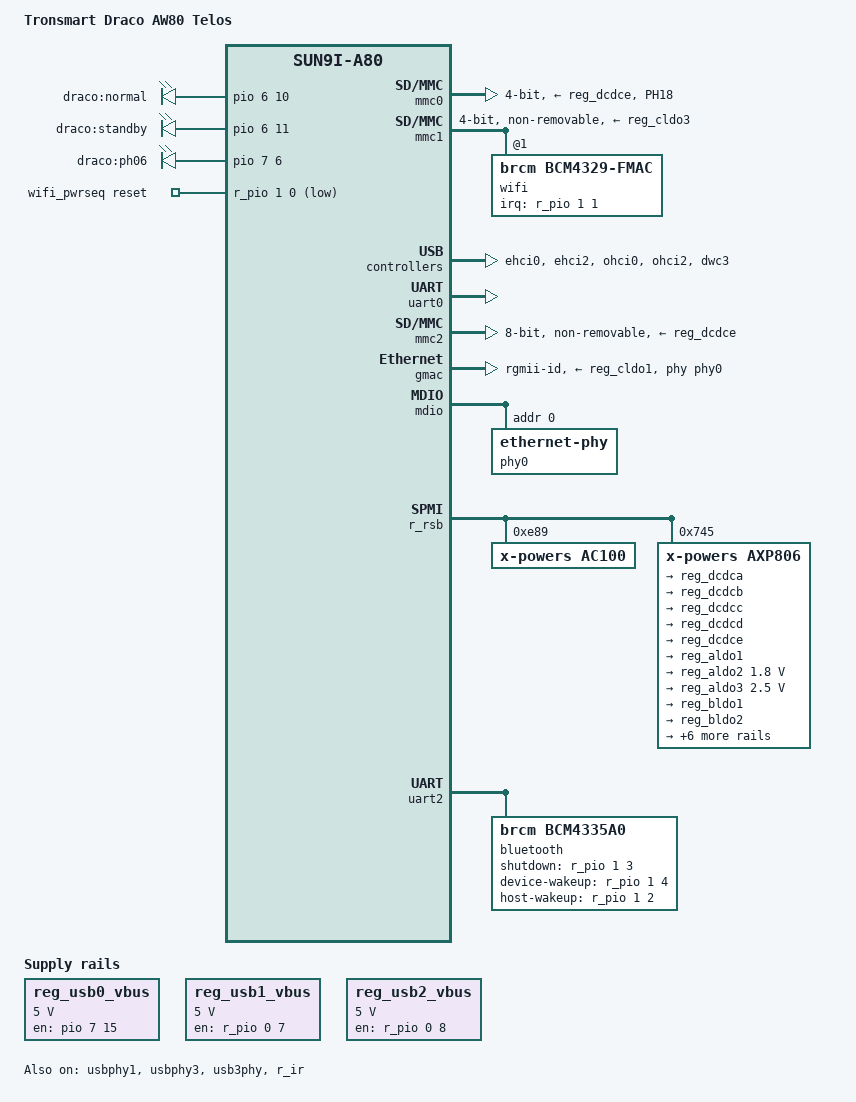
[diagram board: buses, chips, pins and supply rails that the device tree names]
// SPDX-License-Identifier: (GPL-2.0+ OR MIT)
/*
 * Tronsmart Draco AW80 Telos - Allwinner A80 (sun9i) TV box
 *   4 GB DDR3, 32 GB Samsung eMMC 5.0 on mmc2
 *   AXP806-equivalent PMIC ("AXP808") in MASTER mode on RSB
 *   Realtek RTL8211E gigabit PHY, AMPAK AP6335 (BCM4339) WiFi/BT on mmc1
 *
 * DRAFT - derived from sun9i-a80-cubieboard4.dts and from data read off the
 * running vendor system. GPIO assignments are NOT yet known; anything needing a
 * board GPIO is deliberately left out until schematics or sys_config.fex are
 * available. First goal is a serial console and eMMC.
 */

/*
 * NOTE: voltage constraints are deliberately omitted from the AXP806 rails.
 *
 * With explicit min/max present, the regulator core read every rail as 0.7 V
 * and rewrote it:
 *     vcc-pg-pm:   Bringing 700000uV into 1800000-1800000uV
 *     vcc-pa:      Bringing 700000uV into 2500000-2500000uV
 *     vcc-io-wifi: voltage operation not allowed
 * The live vendor system shows those rails already at 1800 and 2500 mV, so
 * mainline is misreading them - the AXP808 may not be register-identical to
 * the AXP806 after all.  Rewriting live rails with wrong values would brown
 * the board out, which matches the non-deterministic boot failures.
 *
 * Leaving the constraints out keeps the bootloader values.
 */
/dts-v1/;
#include "sun9i-a80.dtsi"

#include <dt-bindings/gpio/gpio.h>
#include <dt-bindings/interrupt-controller/irq.h>

/ {
	model = "Tronsmart Draco AW80 Telos";
	compatible = "tronsmart,draco-aw80", "allwinner,sun9i-a80";

	reserved-memory {
		/* must match the root node, which is <2>/<2> on sun9i */
		#address-cells = <2>;
		#size-cells = <2>;
		ranges;

		/*
		 * A crash log that survives a reset. This board wedges during
		 * cluster bring-up, and the serial console only ever shows what
		 * escaped before the hang - the oops itself is lost. ramoops
		 * keeps the dmesg tail in DRAM across the reset so it can be
		 * read back from /sys/fs/pstore afterwards.
		 *
		 * Placed 256 MiB into DRAM (base 0x20000000): clear of the
		 * kernel at 0x20008000 and the dtb at 0x23000000.
		 */
		ramoops@30000000 {
			compatible = "ramoops";
			reg = <0x0 0x30000000 0x0 0x100000>;
			record-size = <0x20000>;
			console-size = <0x40000>;
			pmsg-size = <0x20000>;
		};
	};

	aliases {
		serial0 = &uart0;
	};

	chosen {
		stdout-path = "serial0:115200n8";
	};

	leds {
		compatible = "gpio-leds";

		/*
		 * The LEDs are not where [led_para] says. That section is template
		 * junk - the same source that invented an LED on PH17, which is
		 * really the SD card-detect line (33-REAL-PINMAP.md).
		 *
		 * The board's own script.bin names them indirectly, and three
		 * sections agree:
		 *   [led_assign]     normal_led = gpio_pin_1, standby_led = gpio_pin_2
		 *   [gpio_para]      gpio_pin_1 = PG10<1> init 1, gpio_pin_2 = PG11<1> init 0
		 *   [boot_init_gpio] drives PG10 = 1 and PG11 = 0 at boot
		 *
		 * PG10/PG11 are also listed as twi3 scl/sda, but twi3 has
		 * twi_used = 0, so the GPIO claim is the live one.
		 *
		 * NOT VERIFIED VISUALLY YET - nobody was at the board. The old
		 * PH06 LED is kept but left undriven: its only live claim is
		 * led2, yet a heartbeat trigger on it produced no visible light.
		 */
		led-0 {
			label = "draco:normal";
			gpios = <&pio 6 10 GPIO_ACTIVE_HIGH>;  /* PG10 */
			linux,default-trigger = "heartbeat";
		};

		led-1 {
			label = "draco:standby";
			gpios = <&pio 6 11 GPIO_ACTIVE_HIGH>;  /* PG11 */
		};

		led-2 {
			label = "draco:ph06";
			gpios = <&pio 7 6 GPIO_ACTIVE_HIGH>;   /* PH6, unproven */
		};
	};

	/*
	 * USB VBUS switches, taken from this board's own script.bin
	 * (machine = "homlet proto"), recovered from the pristine eMMC image.
	 *
	 * NOT from the sys_config.fex that sits in the vendor rootfs: that file
	 * says machine = "cubieboard4", describes a different board, and had
	 * every one of these pins wrong.
	 *
	 *   [usbc0] -> USB3 / dwc3, the blue socket   : PH15
	 *   [usbc1] -> ehci0 / ohci0, the GL850G hub  : PL07
	 *   [usbc2] -> HSIC, usb_used = 0             : not fitted
	 *   [usbc3] -> ehci2 / ohci2                  : PL08
	 *
	 * Corroborated by the vendor kernel bringing up exactly two EHCI and two
	 * OHCI controllers with the HSIC one absent, which only this mapping
	 * produces. PL07/PL08 are on r_pio and nothing in mainline ever drove
	 * them - that is why the two black sockets had no VBUS.
	 */
	reg_usb0_vbus: usb0-vbus {
		compatible = "regulator-fixed";
		regulator-name = "usb0-vbus";
		regulator-min-microvolt = <5000000>;
		regulator-max-microvolt = <5000000>;
		enable-active-high;
		gpio = <&pio 7 15 GPIO_ACTIVE_HIGH>;       /* PH15 */
		/* phy-sun50i-usb3 takes no phy-supply, so hold this one on. */
		regulator-always-on;
		regulator-boot-on;
	};

	reg_usb1_vbus: usb1-vbus {
		compatible = "regulator-fixed";
		regulator-name = "usb1-vbus";
		regulator-min-microvolt = <5000000>;
		regulator-max-microvolt = <5000000>;
		enable-active-high;
		gpio = <&r_pio 0 7 GPIO_ACTIVE_HIGH>;      /* PL07 */
	};

	reg_usb2_vbus: usb2-vbus {
		compatible = "regulator-fixed";
		regulator-name = "usb2-vbus";
		regulator-min-microvolt = <5000000>;
		regulator-max-microvolt = <5000000>;
		enable-active-high;
		gpio = <&r_pio 0 8 GPIO_ACTIVE_HIGH>;      /* PL08 */
	};

	/*
	 * AMPAK AP6335 (BCM4339).  [wifi_para] ap6xxx_wl_regon = port:PL02.
	 * TODO: the module also wants a 32.768 kHz LPO, which on the dev boards
	 * comes from the AC100 (clocks = <&ac100_rtc 1>).  No AC100 node here yet,
	 * so WiFi may not associate until that is added.
	 */
	wifi_pwrseq: wifi-pwrseq {
		compatible = "mmc-pwrseq-simple";
		clocks = <&ac100_rtc 1>;
		clock-names = "ext_clock";
		reset-gpios = <&r_pio 1 0 GPIO_ACTIVE_LOW>;
		/*
		 * BCM4339 needs ~150 ms after WL_REG_ON before it answers on
		 * SDIO. Without this the bus is scanned too early and the
		 * module is simply not there yet.
		 */
		post-power-on-delay-ms = <200>; /* PM00 WL-REG-ON (real script.bin; PL02 is a15_pwr_en) */
	};
};

/* [mmc0_para] SD card slot: 4-bit on PF0-PF5, card detect on PH18 */
&mmc0 {
	pinctrl-names = "default";
	pinctrl-0 = <&mmc0_pins>, <&mmc0_cd_pin>;
	vmmc-supply = <&reg_dcdce>;
	bus-width = <4>;
	/*
	 * Card detect is PH18 and the vendor configures it with a pull-up
	 * (sys_config.fex: sdc_det = port:PH18<6><1><2><default>).  Our tree
	 * set no bias at all, so the line floated LOW and the driver believed
	 * a card was permanently inserted - measured: slot empty reads 0 with
	 * the pull off and 1 with it on.  mmc0_cd_pin below fixes that.
	 *
	 * With the pull-up enabled the line still does not go low when a card
	 * is inserted, so the detect switch itself is not reaching PH18 on
	 * this board.  broken-cd makes the driver poll instead, which does not
	 * depend on that switch.  cd-gpios is deliberately dropped - it and
	 * broken-cd are mutually exclusive.
	 */
	broken-cd;
	/*
	 * Cap the bus clock.  Left uncapped this controller enumerates a card
	 * and then fails every transfer:
	 *     sunxi-mmc 1c0f000.mmc: data error, sending stop command
	 *     sunxi-mmc 1c0f000.mmc: send stop command failed
	 * so no partition table is readable and the boot ROM cannot load an
	 * SPL from the card.  mmc2 (eMMC) needed exactly the same treatment.
	 */
	max-frequency = <25000000>;
	status = "okay";
};

/* [mmc1_para] SDIO WiFi: 4-bit on PG0-PG5, sdc_isio = 1 */
&mmc1 {
	pinctrl-names = "default";
	pinctrl-0 = <&mmc1_pins>;
	mmc-pwrseq = <&wifi_pwrseq>;
	vmmc-supply = <&reg_cldo3>;
	vqmmc-supply = <&reg_aldo2>;
	bus-width = <4>;
	non-removable;
	/* start slow while the clk-update timeout is being chased */
	max-frequency = <25000000>;
	/*
	 * DISABLED.  Still throws
	 *     sunxi-mmc 1c10000.mmc: fatal err update clk timeout
	 * and eventually stops the system, even with the AC100 LPO clock now
	 * present.  The AC100 did help - wifi-pwrseq probes cleanly and root
	 * now mounts with this controller enabled - but the controller itself
	 * is still broken.  See 17-mmc1-investigation.md.
	 */
	status = "okay";  /* retest: WL-REG-ON now PM00, not PL02 */
	/*
	 * AP6335 / BCM4339.  The vendor driver registers an out-of-band
	 * interrupt on wl_host_wake (PM01, wl_host_wake_invert = 0) --
	 * "bcmsdh_register_oob_intr: IRQ=1" in its boot log.  Without it the
	 * firmware downloads fine but every control message times out:
	 *     brcmf_sdio_bus_rxctl: resumed on timeout
	 *     brcmf_netdev_open: failed to bring up cfg80211
	 */
	wifi@1 {
		reg = <1>;
		compatible = "brcm,bcm4329-fmac";
		interrupt-parent = <&r_pio>;
		interrupts = <1 1 IRQ_TYPE_LEVEL_HIGH>; /* PM01 wl_host_wake */
		interrupt-names = "host-wake";
		/* brcmfmac enables this itself: devm_clk_get_optional_enabled_with_rate(dev, lpo, 32768) */
		clocks = <&ac100_rtc 1>;
		clock-names = "lpo";
		/*
		 * The NVRAM ships ccode=0/regrev=0 and the vendor driver layers
		 * /lib/firmware/ap6335/config.txt (ccode=CN regrev=38) on top, which
		 * brcmfmac does not read. Without a country the firmware will not
		 * transmit, and iw reg set never moves the domain off country 00.
		 */
		brcm,ccode-map-trivial;
	};

};

&mmc1_pins {
	bias-pull-up;
};

&usbphy1 {
	/* [usbc1] host, VBUS on PH14 */
	phy-supply = <&reg_usb1_vbus>;
	status = "okay";
};

&usbphy2 {
	/*
	 * HSIC PHY (supplied by BLDO4, vcc12-hsic).  sys_config.fex lists only
	 * usbc0/usbc1/usbc2, and the vendor kernel brings up exactly two EHCI
	 * and two OHCI controllers - so there is no third USB2 host port here.
	 */
	status = "disabled";
};
&usbphy3 {
	/* [usbc2] host, VBUS on PH15 */
	phy-supply = <&reg_usb2_vbus>;
	status = "okay";
};

&ehci0 {
	status = "okay";
};

&ehci1 {
	/* HSIC controller - no HSIC device fitted on this board */
	status = "disabled";
};

&ehci2 {
	status = "okay";
};

&ohci0 {
	status = "okay";
};

&ohci2 {
	status = "okay";
};

/*
 * [usbc0] - the blue USB 3.0 socket. Its VBUS is not switched by PH14/PH15
 * (those gate the shared 5 V rail that also feeds this socket); sys_config.fex
 * gives usbc0 an AXP drivevbus pin with initial state 1, and the socket has
 * been measured live, so nothing extra has to be enabled here.
 */
&usb3phy {
	status = "okay";
};

&dwc3 {
	status = "okay";
};
&osc32k {
	/* osc32k input is from the AC100 */
	clocks = <&ac100_rtc 0>;
};

&uart0 {
	pinctrl-names = "default";
	pinctrl-0 = <&uart0_ph_pins>;
	status = "okay";
};

/* 32 GB Samsung BWBC3R eMMC 5.0. Vendor BSP runs it 4-bit; try 8-bit. */
&mmc2 {
	pinctrl-names = "default";
	pinctrl-0 = <&mmc2_8bit_pins>;
	vmmc-supply = <&reg_dcdce>;
	vqmmc-supply = <&reg_dcdce>;
	/*
	 * Enumerates as high speed DDR then throws
	 *   data error, sending stop command / send stop command failed
	 * Cap the clock while that is investigated.
	 */
	max-frequency = <25000000>;
	bus-width = <8>;
	non-removable;
	cap-mmc-hw-reset;
	status = "okay";
};

&mmc2_8bit_pins {
	/* Increase drive strength for DDR modes */
	drive-strength = <40>;
};

&gmac {
	pinctrl-names = "default";
	pinctrl-0 = <&gmac_rgmii_pins>;
	/* DIAGNOSTIC: no phy-handle - let stmmac scan all 32 MDIO addresses */
	/*
	 * phylink rejects rgmii-id on this MAC:
	 *   validation of rgmii-id with support ...00006280 failed: -EINVAL
	 *   cannot attach to PHY (error: -EINVAL)
	 * Plain rgmii is accepted.
	 */
	phy-mode = "rgmii-id";
	phy-supply = <&reg_cldo1>;
	/*
	 * Force the MDIO clock divider.  bus-gmac runs at 240 MHz and stmmac
	 * picks the CSR range from it; the default lands on div 42, giving
	 * MDC = 240/42 = 5.7 MHz.  The MDIO spec caps MDC at 2.5 MHz, so no
	 * PHY answers - which is what "no phy found" with all-zero reads on a
	 * full 32-address scan looks like.
	 *
	 * clk_csr = 4 selects the 150-250 MHz range, div 102:
	 *   240 MHz / 102 = 2.35 MHz  (in spec)
	 */
	snps,clk-csr = <4>;
	status = "okay";

	/*
	 * MDIO never finds the PHY on this board: the bus is electrically
	 * healthy (all reads 0xffff, zero timeouts, verified by direct
	 * register access) but the RTL8211E does not answer.  It is clearly
	 * alive though - the link LEDs negotiate with the switch unaided.
	 *
	 * fixed-link tells the MAC to assume a 1 Gbit full-duplex link and
	 * skip PHY discovery entirely, which is exactly the situation this
	 * binding exists for.
	 */
	phy-handle = <&phy0>;
};

&mdio {
	/*
	 * RTL8211E at address 0, ID 001cc915 - confirmed by direct MDIO reads
	 * once the vcc-pa bank was powered correctly.
	 */
	phy0: ethernet-phy@0 {
		reg = <0>;
	};
};

&pio {
	vcc-pa-supply = <&reg_aldo3>;
	vcc-pb-supply = <&reg_dcdce>;
	vcc-pc-supply = <&reg_dcdce>;
	vcc-pd-supply = <&reg_dcdce>;
	vcc-pe-supply = <&reg_dcdce>;
	vcc-pf-supply = <&reg_dcdce>;
	vcc-pg-supply = <&reg_aldo2>;
	vcc-ph-supply = <&reg_dcdce>;
	/*
	 * SD card detect.  The vendor configures this pin with a pull-up
	 * (sdc_det = port:PH18<6><1><2><default>); our tree set no bias, so
	 * the line floated LOW and the driver saw a card permanently present.
	 */
	mmc0_cd_pin: mmc0-cd-pin {
		pins = "PH18";
		function = "gpio_in";
		bias-pull-up;
	};

};

&r_pio {
	vcc-pl-supply = <&reg_cldo1>;
	vcc-pm-supply = <&reg_aldo2>;
};

&r_rsb {
	status = "okay";

	/*
	 * The board is fitted with a part branded AXP808. Every rail it
	 * exposes matches the AXP806 exactly, including the distinctive
	 * 0.7-4.2 V CLDO2, and mainline axp20x performs no chip-ID check -
	 * the variant comes from the compatible alone. Unlike the A80 dev
	 * boards, there is no AXP809 here and this part runs standalone,
	 * hence x-powers,master-mode.
	 */
	/*
	 * X-Powers AC100 audio codec + RTC (confirmed on the board teardown).
	 * Its RTC block provides the 32.768 kHz clocks: output 0 feeds osc32k,
	 * output 1 is the LPO the AP6335 WiFi module needs.  Without it the
	 * module has no reference clock and may never respond, which is the
	 * leading theory for mmc1 wedging the bus.
	 */
	ac100: codec@e89 {
		compatible = "x-powers,ac100";
		reg = <0xe89>;

		ac100_codec: codec {
			compatible = "x-powers,ac100-codec";
			interrupt-parent = <&r_pio>;
			interrupts = <0 9 IRQ_TYPE_LEVEL_LOW>; /* PL9 */
			#clock-cells = <0>;
			clock-output-names = "4M_adda";
		};

		ac100_rtc: rtc {
			compatible = "x-powers,ac100-rtc";
			interrupt-parent = <&nmi_intc>;
			interrupts = <0 IRQ_TYPE_LEVEL_LOW>;
			clocks = <&ac100_codec>;
			#clock-cells = <1>;
			clock-output-names = "cko1_rtc",
					     "cko2_rtc",
					     "cko3_rtc";
		};
	};

	axp806: pmic@745 {
		compatible = "x-powers,axp806";
		reg = <0x745>;
		interrupt-parent = <&nmi_intc>;
		interrupts = <0 IRQ_TYPE_LEVEL_LOW>;
		interrupt-controller;
		#interrupt-cells = <1>;
		x-powers,master-mode;

		regulators {
			/* observed 840 mV, range 600-1520; cubieboard4 calls DCDCA vdd-cpub */
			reg_dcdca: dcdca {
				regulator-always-on;
				regulator-name = "vdd-cpus";
			};

			/* observed 1500 mV - DDR3 supply */
			reg_dcdcb: dcdcb {
				regulator-always-on;
				regulator-name = "vcc-dram";
			};

			/* observed 900-1000 mV, CPU-class range. Consumer UNVERIFIED. */
			reg_dcdcc: dcdcc {
				regulator-always-on;
				regulator-name = "vdd-cpus-or-gpu";
			};

			/* observed 900 mV; cubieboard4 calls DCDCD vdd-vpu */
			reg_dcdcd: dcdcd {
				regulator-always-on;
				regulator-name = "vdd-vpu";
			};

			/*
			 * Main 3.3 V I/O rail.  Vendor gpio bias map puts PB, PC,
			 * PD, PE, PF and PH on this at 3300 mV.  PC is the eMMC
			 * and PF the SD slot, so this is also their vmmc/vqmmc.
			 */
			reg_dcdce: dcdce {
				regulator-always-on;
				regulator-name = "vcc-io-3v3";
			};

			reg_aldo1: aldo1 {
				regulator-always-on;
				regulator-name = "avcc";
			};

			/*
			 * PG and PM pin bias, 1.8 V (vendor gpio bias map, and
			 * the vendor boot log shows aldo2 at 1800 mV).  PG is the
			 * mmc1/SDIO bank, so a 700 mV floor here is a candidate
			 * cause of the mmc1 clock-update timeout as well.
			 */
			reg_aldo2: aldo2 {
				regulator-always-on;
				regulator-min-microvolt = <1800000>;
				regulator-max-microvolt = <1800000>;
				regulator-name = "vcc-pg-pm";
			};

			/*
			 * PA pin bank bias.  Every GMAC pin lives here and RGMII
			 * is 2.5 V signalling; the vendor runs aldo3 at 2500 mV.
			 * With no constraints this floored at 700 mV, which held
			 * MDC (PA16) and MDIO (PA17) low even against an internal
			 * pull-up - measured - so no PHY could ever answer.
			 */
			reg_aldo3: aldo3 {
				regulator-always-on;
				regulator-min-microvolt = <2500000>;
				regulator-max-microvolt = <2500000>;
				regulator-name = "vcc-pa";
			};

			reg_bldo1: bldo1 {
				regulator-always-on;
				regulator-name = "vcc18-efuse-adc-display";
			};

			reg_bldo2: bldo2 {
				regulator-always-on;
				regulator-name = "vdd09-drampll";
			};

			/*
			 * Vendor boot log shows bldo3 at 1200 mV.  Consumer not
			 * positively identified - candidate PHY core supply.
			 */
			reg_bldo3: bldo3 {
				regulator-always-on;
				regulator-min-microvolt = <1200000>;
				regulator-max-microvolt = <1200000>;
				regulator-name = "vcc12-bldo3";
			};

			/*
			 * Named vcc12-hsic after the Optimus, but no HSIC device
			 * is fitted here.  Vendor boot log: bldo4 at 1100 mV.
			 * Enabled at the vendor value while hunting the PHY.
			 */
			reg_bldo4: bldo4 {
				regulator-always-on;
				regulator-min-microvolt = <1100000>;
				regulator-max-microvolt = <1100000>;
				regulator-name = "vcc12-hsic";
			};

			/* vendor boot log: cldo1 at 3300 mV */
			reg_cldo1: cldo1 {
				regulator-always-on;
				regulator-enable-ramp-delay = <100000>;
				regulator-min-microvolt = <3300000>;
				regulator-max-microvolt = <3300000>;
				regulator-name = "vcc-gmac-phy";
			};

			/* Vendor boot log shows cldo2 at 1900 mV. */
			reg_cldo2: cldo2 {
				regulator-always-on;
				regulator-min-microvolt = <3300000>;
				regulator-max-microvolt = <3300000>;
				regulator-name = "vcc33-wifi-cldo2";
			};

			/*
			 * WiFi module supply (vendor: wifi_power_ext1 =
			 * axp15_cldo3, running at 1900 mV).  Must stay enabled -
			 * with it off, mmc1 throws
			 *   sunxi-mmc 1c10000.mmc: fatal err update clk timeout
			 * which killed the whole boot.
			 */
			reg_cldo3: cldo3 {
				regulator-always-on;
				regulator-min-microvolt = <3300000>;
				regulator-max-microvolt = <3300000>;
				regulator-name = "vcc-io-wifi";
			};

			reg_sw: sw {
				regulator-always-on;
				regulator-name = "vcc-sw";
				/* last rail still off; load unidentified */
			};
		};
	};
};

/*
 * OPP tables and cpu-supply are DISABLED for now.
 *
 * cpufreq-dt walks every CPU and aborts entirely if any lacks an OPP node:
 *     of: /cpus/cpu@100: Couldn t find opp node
 *     cpu cpu1: error -EBUSY: failed to set regulators
 *     cpufreq-dt: probe failed with error -16
 * We can only supply the A7 cluster (AXP806 DCDCA); the A15 runs off an
 * external OZ8012x with no mainline driver, so a partial table is not
 * acceptable to cpufreq-dt.  See 10-cpufreq-implementation.md.
 *
 * The failed probe also lands milliseconds before the console dies, so it is
 * removed here to take it out of the picture.
 */

/*
 * Infrared receiver. The dtsi node and its pinctrl already exist and match the
 * board's own script.bin (ir_rx = port:PL06<3>, and r_ir_pins is PL6 with
 * function s_cir_rx) - it was simply never enabled for this board.
 */
&r_ir {
	status = "okay";
};

/*
 * Bluetooth - the other half of the AP6335. The WiFi side is on mmc1;
 * this is the same module's BT controller on uart2.
 *
 * From the board's own script.bin:
 *   [bt_para]  bt_used = 1, bt_uart_id = 2
 *              bt_rst_n = PM03, bt_wake = PM04, bt_host_wake = PM02
 *   [uart2]    uart_used = 1, 4-wire on PG06/07/08/09 (uart_type = 4)
 *
 * Those control pins sit right next to the WiFi ones - PM00 is the WiFi
 * reset and PM01 its host-wake - which is good corroboration: one
 * contiguous block on the same bank for one module.
 *
 * BCM4339 has no compatible of its own. brcm,bcm4335a0 is the closest
 * real match (the 4339 is a 4335 derivative) and, like the other plain
 * entries in hci_bcm's table, carries no driver-specific data, so the
 * choice does not change behaviour.
 *
 * The lpo clock is the AC100's, exactly as for WiFi.
 */
&uart2 {
	pinctrl-names = "default";
	pinctrl-0 = <&uart2_pins>, <&uart2_rts_cts_pins>;
	uart-has-rtscts;
	status = "okay";

	bluetooth {
		compatible = "brcm,bcm4335a0";
		clocks = <&ac100_rtc 1>;
		clock-names = "lpo";
		shutdown-gpios = <&r_pio 1 3 GPIO_ACTIVE_HIGH>;      /* PM03 */
		device-wakeup-gpios = <&r_pio 1 4 GPIO_ACTIVE_HIGH>; /* PM04 */
		host-wakeup-gpios = <&r_pio 1 2 GPIO_ACTIVE_HIGH>;   /* PM02 */
	};
};
